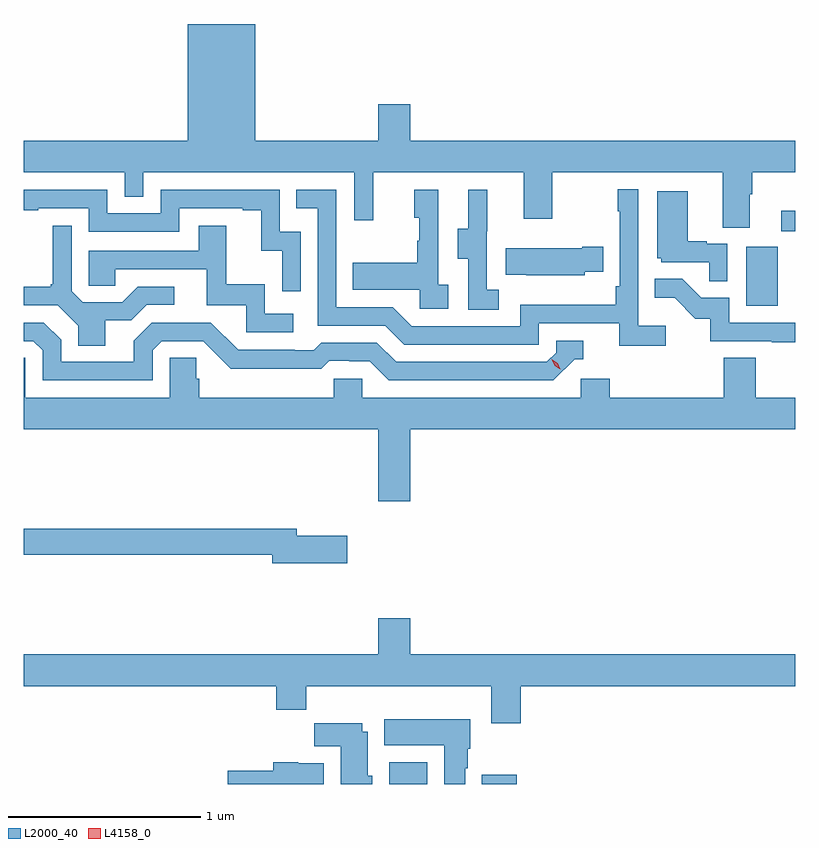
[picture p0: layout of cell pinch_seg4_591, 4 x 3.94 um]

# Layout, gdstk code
import gdstk
lib = gdstk.Library(unit=1e-6, precision=1e-09)
def R(c, l, rs):  # rectangles x0, y0, x1, y1
    for r in rs: c.add(gdstk.rectangle(r[:2], r[2:], *l))
def P(c, l, *ps):  # polygons
    for p in ps: c.add(gdstk.Polygon(p, *l))
L2000_40 = (2000, 40)
L4158_0 = (4158, 0)

pinch_seg4_591 = lib.new_cell('pinch_seg4_591')
R(pinch_seg4_591, L2000_40, [(1040.189,781.66,1040.386,781.774), (1040.669,781.66,1040.848,781.708), (1042.04,784.14,1042.204,784.447), (1042.221,784.527,1042.293,784.633)])
P(pinch_seg4_591, L2000_40, [(1042.057,784.72),(1042.07,784.72),(1042.07,784.832),(1042.293,784.832),(1042.293,784.996),(1040.296,784.996),(1040.296,785.185),(1040.132,785.185),(1040.132,784.996),(1039.492,784.996),(1039.492,785.602),(1039.142,785.602),(1039.142,784.996),(1038.293,784.996),(1038.293,784.832),(1038.816,784.832),(1038.816,784.705),(1038.912,784.705),(1038.912,784.832),(1040.007,784.832),(1040.007,784.584),(1040.105,784.584),(1040.105,784.832),(1040.885,784.832),(1040.885,784.593),(1041.033,784.593),(1041.033,784.832),(1041.917,784.832),(1041.917,784.546),(1042.057,784.546)],
  [(1041.622,784.036),(1041.48,784.036),(1041.48,784.744),(1041.372,784.744),(1041.372,784.631),(1041.384,784.631),(1041.384,784.243),(1041.364,784.243),(1041.364,784.147),(1040.868,784.147),(1040.868,784.035),(1040.304,784.035),(1040.205,784.134),(1039.914,784.134),(1039.914,784.743),(1039.705,784.743),(1039.705,784.647),(1039.818,784.647),(1039.818,784.038),(1040.168,784.038),(1040.267,783.939),(1040.964,783.939),(1040.964,784.05),(1041.382,784.05),(1041.382,783.934),(1041.622,783.934)],
  [(1039.728,784.524),(1039.62,784.524),(1039.62,784.743),(1039.002,784.743),(1039.002,784.62),(1038.726,784.62),(1038.726,784.743),(1038.293,784.743),(1038.293,784.635),(1038.367,784.635),(1038.367,784.647),(1038.63,784.647),(1038.63,784.524),(1039.098,784.524),(1039.098,784.647),(1039.427,784.647),(1039.427,784.635),(1039.523,784.635),(1039.523,784.427),(1039.632,784.427),(1039.632,784.215),(1039.728,784.215)],
  [(1040.757,784.223),(1040.694,784.223),(1040.694,784.527),(1040.696,784.527),(1040.696,784.741),(1040.597,784.741),(1040.597,784.539),(1040.543,784.539),(1040.543,784.384),(1040.598,784.384),(1040.598,784.12),(1040.757,784.12)],
  [(1040.494,784.25),(1040.442,784.25),(1040.442,784.741),(1040.318,784.741),(1040.318,784.596),(1040.344,784.596),(1040.344,784.478),(1040.334,784.478),(1040.334,784.363),(1039.999,784.363),(1039.999,784.223),(1040.346,784.223),(1040.346,784.125),(1040.494,784.125)],
  [(1041.942,784.461),(1041.836,784.461),(1041.836,784.474),(1041.736,784.474),(1041.736,784.735),(1041.578,784.735),(1041.578,784.386),(1041.6,784.386),(1041.6,784.365),(1041.847,784.365),(1041.847,784.267),(1041.942,784.267)],
  [(1038.715,784.066),(1038.85,784.066),(1038.93,784.146),(1039.072,784.146),(1039.072,784.239),(1038.884,784.239),(1038.803,784.158),(1038.597,784.158),(1038.54,784.215),(1038.54,784.555),(1038.443,784.555),(1038.443,784.252),(1038.432,784.252),(1038.432,784.24),(1038.293,784.24),(1038.293,784.143),(1038.468,784.143),(1038.575,784.036),(1038.575,783.934),(1038.715,783.934)],
  [(1039.69,784.098),(1039.542,784.098),(1039.542,784.252),(1039.343,784.252),(1039.343,784.555),(1039.199,784.555),(1039.199,784.425),(1038.63,784.425),(1038.63,784.245),(1038.767,784.245),(1038.767,784.329),(1039.241,784.329),(1039.241,784.143),(1039.446,784.143),(1039.446,784.002),(1039.69,784.002)],
  [(1041.201,784.316),(1041.299,784.316),(1041.299,784.446),(1041.188,784.446),(1041.188,784.438),(1040.791,784.438),(1040.791,784.301),(1040.899,784.301),(1040.899,784.298),(1041.201,784.298)],
  [(1042.293,784.053),(1041.951,784.053),(1041.951,784.182),(1041.807,784.182),(1041.709,784.28),(1041.565,784.28),(1041.565,784.181),(1041.669,784.181),(1041.776,784.074),(1041.853,784.074),(1041.853,783.957),(1042.171,783.957),(1042.171,783.952),(1042.293,783.952)],
  [(1038.96,783.909),(1039.008,783.957),(1039.224,783.957),(1039.366,783.815),(1039.602,783.815),(1039.602,783.813),(1039.835,783.813),(1039.877,783.855),(1039.98,783.855),(1039.98,783.852),(1040.087,783.852),(1040.186,783.753),(1041.039,783.753),(1041.15,783.864),(1041.193,783.864),(1041.193,783.96),(1041.054,783.96),(1041.054,783.897),(1041.006,783.849),(1040.223,783.849),(1040.124,783.948),(1039.835,783.948),(1039.796,783.909),(1039.697,783.909),(1039.697,783.912),(1039.404,783.912),(1039.263,784.053),(1038.957,784.053),(1038.863,783.959),(1038.863,783.849),(1038.486,783.849),(1038.486,783.963),(1038.396,784.053),(1038.293,784.053),(1038.293,783.957),(1038.342,783.957),(1038.39,783.909),(1038.39,783.753),(1038.96,783.753)],
  [(1040.296,783.5),(1042.293,783.5),(1042.293,783.664),(1042.088,783.664),(1042.088,783.872),(1041.923,783.872),(1041.923,783.664),(1041.332,783.664),(1041.332,783.762),(1041.18,783.762),(1041.18,783.664),(1040.049,783.664),(1040.049,783.762),(1039.899,783.762),(1039.899,783.664),(1039.202,783.664),(1039.202,783.762),(1039.187,783.762),(1039.187,783.872),(1039.05,783.872),(1039.05,783.664),(1038.3,783.664),(1038.3,783.872),(1038.293,783.872),(1038.293,783.5),(1040.132,783.5),(1040.132,783.126),(1040.296,783.126)],
  [(1039.969,782.948),(1039.708,782.948),(1039.708,782.984),(1038.293,782.984),(1038.293,782.848),(1039.58,782.848),(1039.58,782.806),(1039.969,782.806)],
  [(1040.87,782.168),(1042.293,782.168),(1042.293,782.332),(1040.296,782.332),(1040.296,782.521),(1040.132,782.521),(1040.132,782.332),(1038.293,782.332),(1038.293,782.168),(1039.601,782.168),(1039.601,782.044),(1039.757,782.044),(1039.757,782.168),(1040.717,782.168),(1040.717,781.974),(1040.87,781.974)],
  [(1040.581,781.742),(1040.596,781.742),(1040.596,781.842),(1040.608,781.842),(1040.608,781.996),(1040.162,781.996),(1040.162,781.862),(1040.474,781.862),(1040.474,781.66),(1040.581,781.66)],
  [(1040.101,781.704),(1040.077,781.704),(1040.077,781.93),(1040.047,781.93),(1040.047,781.975),(1039.798,781.975),(1039.798,781.856),(1039.937,781.856),(1039.937,781.66),(1040.101,781.66)],
  [(1039.849,781.768),(1039.716,781.768),(1039.716,781.774),(1039.586,781.774),(1039.586,781.728),(1039.35,781.728),(1039.35,781.66),(1039.849,781.66)])
P(pinch_seg4_591, L4158_0, [(1041.076,783.81),(1041.046,783.83),(1041.03,783.863),(1041.03,783.863),(1041.03,783.863),(1041.061,783.843),(1041.076,783.81),(1041.076,783.81)])

lib.write_gds('pinch_seg4_591.gds')
